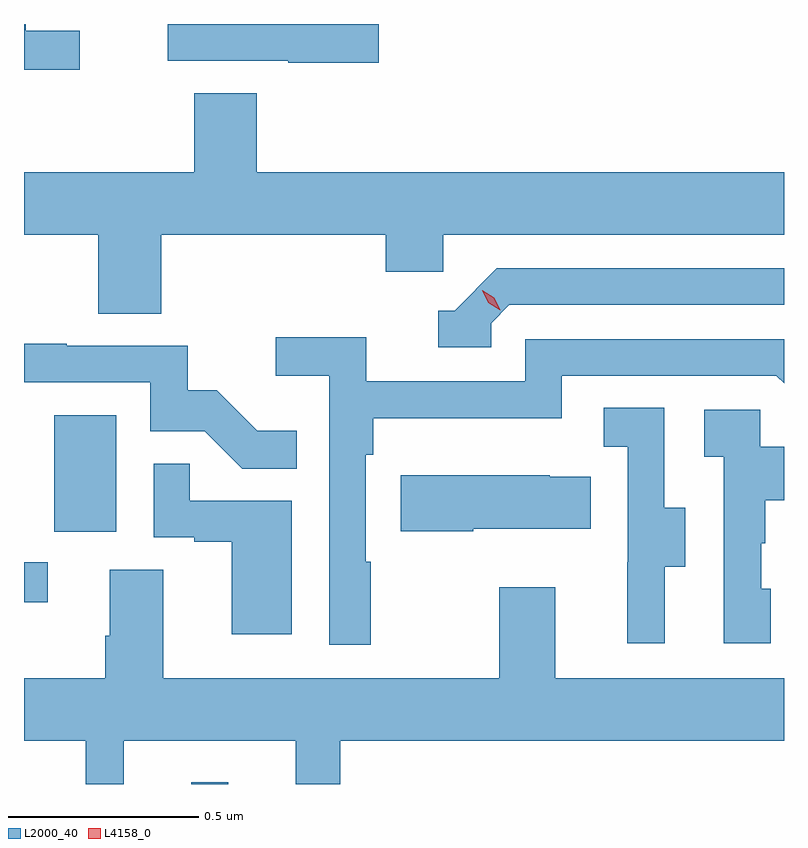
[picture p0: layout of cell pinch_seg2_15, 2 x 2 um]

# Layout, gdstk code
import gdstk
lib = gdstk.Library(unit=1e-6, precision=1e-09)
def R(c, l, rs):  # rectangles x0, y0, x1, y1
    for r in rs: c.add(gdstk.rectangle(r[:2], r[2:], *l))
def P(c, l, *ps):  # polygons
    for p in ps: c.add(gdstk.Polygon(p, *l))
L2000_40 = (2000, 40)
L4158_0 = (4158, 0)

pinch_seg2_15 = lib.new_cell('pinch_seg2_15')
R(pinch_seg2_15, L2000_40, [(1090.755,659.51,1090.852,659.515), (1090.315,659.988,1090.378,660.093), (1090.394,660.174,1090.558,660.481)])
P(pinch_seg2_15, L2000_40, [(1091.249,661.51),(1091.133,661.51),(1091.133,661.509),(1090.791,661.509),(1090.791,661.51),(1090.693,661.51),(1090.693,661.413),(1091.011,661.413),(1091.011,661.408),(1091.249,661.408)],
  [(1090.462,661.492),(1090.32,661.492),(1090.32,661.51),(1090.315,661.51),(1090.315,661.39),(1090.462,661.39)],
  [(1090.676,660.956),(1091.267,660.956),(1091.267,660.858),(1091.418,660.858),(1091.418,660.956),(1092.315,660.956),(1092.315,661.12),(1090.928,661.12),(1090.928,661.328),(1090.763,661.328),(1090.763,661.12),(1090.315,661.12),(1090.315,660.956),(1090.511,660.956),(1090.511,660.748),(1090.676,660.748)],
  [(1091.544,660.723),(1091.592,660.771),(1092.315,660.771),(1092.315,660.867),(1091.559,660.867),(1091.448,660.756),(1091.405,660.756),(1091.405,660.66),(1091.544,660.66)],
  [(1091.227,660.095),(1091.214,660.095),(1091.214,660.377),(1091.234,660.377),(1091.234,660.473),(1091.73,660.473),(1091.73,660.585),(1092.294,660.585),(1092.315,660.564),(1092.315,660.681),(1091.634,660.681),(1091.634,660.57),(1091.216,660.57),(1091.216,660.686),(1090.977,660.686),(1090.977,660.584),(1091.118,660.584),(1091.118,659.877),(1091.227,659.877)],
  [(1091.033,660.439),(1090.929,660.439),(1090.822,660.546),(1090.746,660.546),(1090.746,660.663),(1090.427,660.663),(1090.427,660.668),(1090.315,660.668),(1090.315,660.567),(1090.647,660.567),(1090.647,660.438),(1090.791,660.438),(1090.889,660.34),(1091.033,660.34)],
  [(1092.001,660.082),(1092.055,660.082),(1092.055,660.237),(1092,660.237),(1092,660.5),(1091.841,660.5),(1091.841,660.397),(1091.904,660.397),(1091.904,660.093),(1091.903,660.093),(1091.903,659.88),(1092.001,659.88)],
  [(1092.28,660.024),(1092.255,660.024),(1092.255,660.143),(1092.265,660.143),(1092.265,660.257),(1092.315,660.257),(1092.315,660.397),(1092.252,660.397),(1092.252,660.495),(1092.105,660.495),(1092.105,660.371),(1092.156,660.371),(1092.156,659.88),(1092.28,659.88)],
  [(1091.02,660.255),(1090.751,660.255),(1090.751,660.353),(1090.656,660.353),(1090.656,660.159),(1090.763,660.159),(1090.763,660.147),(1090.862,660.147),(1090.862,659.904),(1091.02,659.904)],
  [(1091.497,660.182),(1091.807,660.182),(1091.807,660.319),(1091.699,660.319),(1091.699,660.322),(1091.306,660.322),(1091.306,660.175),(1091.497,660.175)],
  [(1090.577,659.624),(1091.03,659.624),(1091.03,659.51),(1091.147,659.51),(1091.147,659.624),(1092.315,659.624),(1092.315,659.788),(1091.713,659.788),(1091.713,660.028),(1091.566,660.028),(1091.566,659.788),(1090.681,659.788),(1090.681,660.074),(1090.541,660.074),(1090.541,659.9),(1090.529,659.9),(1090.529,659.788),(1090.315,659.788),(1090.315,659.624),(1090.478,659.624),(1090.478,659.51),(1090.577,659.51)])
P(pinch_seg2_15, L4158_0, [(1091.568,660.757),(1091.537,660.777),(1091.521,660.809),(1091.521,660.809),(1091.521,660.809),(1091.552,660.79),(1091.568,660.758),(1091.568,660.757)])

lib.write_gds('pinch_seg2_15.gds')
